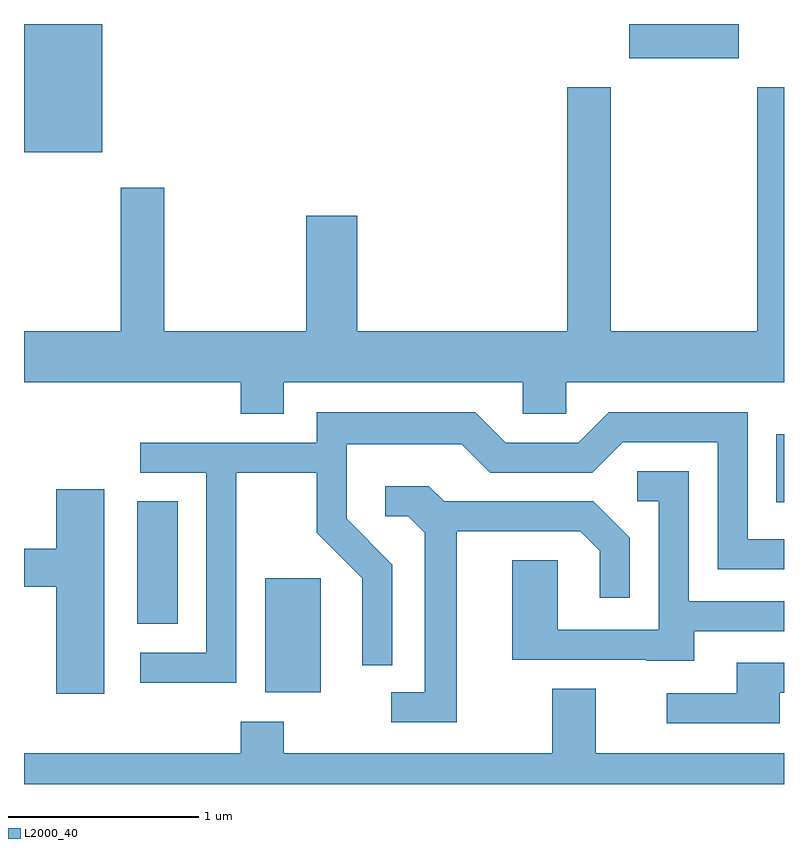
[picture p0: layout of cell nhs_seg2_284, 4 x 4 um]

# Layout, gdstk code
import gdstk
lib = gdstk.Library(unit=1e-6, precision=1e-09)
def R(c, l, rs):  # rectangles x0, y0, x1, y1
    for r in rs: c.add(gdstk.rectangle(r[:2], r[2:], *l))
def P(c, l, *ps):  # polygons
    for p in ps: c.add(gdstk.Polygon(p, *l))
L2000_40 = (2000, 40)

nhs_seg2_284 = lib.new_cell('nhs_seg2_284')
R(nhs_seg2_284, L2000_40, [(194.881,1002.286,195.174,1002.884), (194.206,1002.646,194.419,1003.289), (197.571,1003.286,197.611,1003.643), (193.611,1005.126,194.024,1005.802), (196.796,1005.621,197.374,1005.802)])
P(nhs_seg2_284, L2000_40, [(194.979,1003.916),(196.236,1003.916),(196.236,1003.751),(196.464,1003.751),(196.464,1003.916),(197.611,1003.916),(197.611,1005.469),(197.471,1005.469),(197.471,1004.184),(196.699,1004.184),(196.699,1005.469),(196.471,1005.469),(196.471,1004.184),(195.364,1004.184),(195.364,1004.794),(195.096,1004.794),(195.096,1004.184),(194.349,1004.184),(194.349,1004.939),(194.121,1004.939),(194.121,1004.184),(193.611,1004.184),(193.611,1003.916),(194.751,1003.916),(194.751,1003.751),(194.979,1003.751)],
  [(194.729,1003.441),(195.151,1003.441),(195.151,1003.124),(195.391,1002.884),(195.391,1002.428),(195.549,1002.428),(195.549,1002.957),(195.309,1003.197),(195.309,1003.591),(195.914,1003.591),(196.064,1003.441),(196.602,1003.441),(196.762,1003.601),(197.261,1003.601),(197.261,1002.931),(197.611,1002.931),(197.611,1003.089),(197.419,1003.089),(197.419,1003.759),(196.689,1003.759),(196.529,1003.599),(196.147,1003.599),(195.987,1003.759),(195.151,1003.759),(195.151,1003.599),(194.223,1003.599),(194.223,1003.441),(194.571,1003.441),(194.571,1002.494),(194.223,1002.494),(194.223,1002.336),(194.729,1002.336)],
  [(197.139,1002.606),(197.611,1002.606),(197.611,1002.764),(197.109,1002.764),(197.109,1003.449),(196.838,1003.449),(196.838,1003.291),(196.951,1003.291),(196.951,1002.614),(196.419,1002.614),(196.419,1002.979),(196.181,1002.979),(196.181,1002.456),(196.885,1002.456),(196.885,1002.451),(197.139,1002.451)],
  [(195.889,1003.131),(196.539,1003.131),(196.641,1003.029),(196.641,1002.783),(196.799,1002.783),(196.799,1003.097),(196.607,1003.289),(195.822,1003.289),(195.742,1003.369),(195.513,1003.369),(195.513,1003.211),(195.634,1003.211),(195.721,1003.124),(195.721,1002.284),(195.543,1002.284),(195.543,1002.126),(195.889,1002.126)],
  [(194.034,1003.354),(193.781,1003.354),(193.781,1003.039),(193.611,1003.039),(193.611,1002.841),(193.781,1002.841),(193.781,1002.276),(194.034,1002.276)],
  [(197.589,1002.281),(197.611,1002.281),(197.611,1002.439),(197.361,1002.439),(197.361,1002.279),(196.993,1002.279),(196.993,1002.121),(197.589,1002.121)],
  [(197.611,1001.964),(196.619,1001.964),(196.619,1002.304),(196.391,1002.304),(196.391,1001.964),(194.979,1001.964),(194.979,1002.129),(194.751,1002.129),(194.751,1001.964),(193.611,1001.964),(193.611,1001.802),(197.611,1001.802)])

lib.write_gds('nhs_seg2_284.gds')
